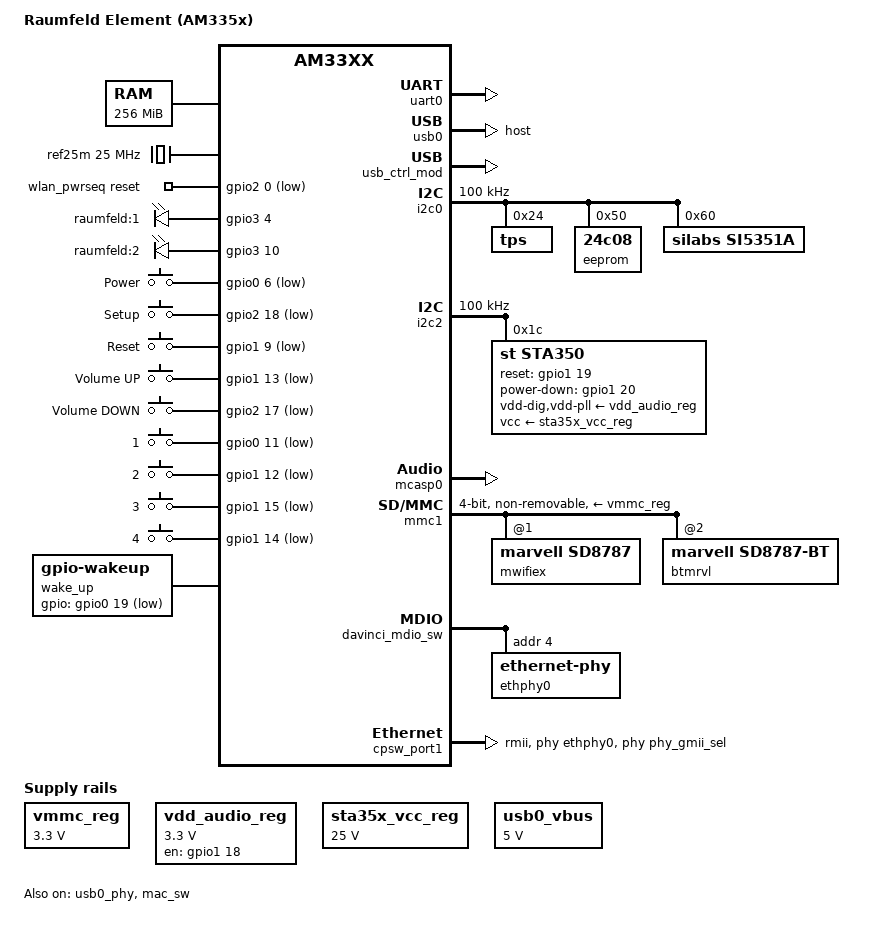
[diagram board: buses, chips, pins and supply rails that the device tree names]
// SPDX-License-Identifier: GPL-2.0-only
/dts-v1/;

#include "ti/omap/am33xx.dtsi"

#include <dt-bindings/gpio/gpio.h>
#include <dt-bindings/input/input.h>
#include <dt-bindings/interrupt-controller/irq.h>
#include <dt-bindings/pinctrl/am33xx.h>

/ {
	model = "Raumfeld Element (AM335x)";
	compatible = "ti,am335x-raumfeld-element", "ti,am33xx";

	pinctrl-names = "default";
	/*
	 * Keep only the global pinmux groups that don't conflict with
	 * peripheral pinctrl states.
	 *
	 * The old running system exposed an (empty) eth_wake_s0 group in pinctrl
	 * debug output. Do not mux XDMA_EVENT_INTR0 here, as that pad overlaps with
	 * RMII1_REF_CLK used by CPSW.
	 */
	pinctrl-0 = <&clkout2_pin &gpio_phy_reset_pins &pmic_irq_pins>;

        aliases {
            serial0 = &uart0;
        };

	chosen {
		stdout-path = &uart0;
	};

	memory@80000000 {
		device_type = "memory";
		reg = <0x80000000 0x10000000>; /* 256MB */
	};

	ref25m: ref25m-clock {
		compatible = "fixed-clock";
		#clock-cells = <0>;
		clock-frequency = <25000000>;
	};

	mcasp0_sysclk: mcasp0-sysclk {
		compatible = "fixed-clock";
		#clock-cells = <0>;
		/* 24.576MHz = 512 * 48kHz */
		clock-frequency = <24576000>;
	};

	wlan_pwrseq: wlan-pwrseq {
		compatible = "mmc-pwrseq-simple";
		reset-gpios = <&gpio2 0 GPIO_ACTIVE_LOW>;
		clocks = <&si5351a 1>;
		clock-names = "ext_clock";
		post-power-on-delay-ms = <200>;
	};

	vmmc_reg: regulator-vmmc {
		compatible = "regulator-fixed";
		regulator-name = "vmmc";
		regulator-min-microvolt = <3300000>;
		regulator-max-microvolt = <3300000>;
		regulator-always-on;
	};

	vdd_audio_reg: regulator-vdd-audio {
		compatible = "regulator-fixed";
		pinctrl-names = "default";
		pinctrl-0 = <&vdd_audio_pins>;
		regulator-name = "vdd-audio";
		regulator-min-microvolt = <3300000>;
		regulator-max-microvolt = <3300000>;
		gpio = <&gpio1 18 GPIO_ACTIVE_HIGH>;
		enable-active-high;
		regulator-enable-ramp-delay = <1000>;
	};

	sta35x_vcc_reg: regulator-sta35x-vcc {
		compatible = "regulator-fixed";
		regulator-name = "sta35x-vcc";
		regulator-min-microvolt = <25000000>;
		regulator-max-microvolt = <25000000>;
		regulator-always-on;
	};

	usb0_vbus: regulator-usb0-vbus {
		compatible = "regulator-fixed";
		regulator-name = "usb0-vbus";
		regulator-min-microvolt = <5000000>;
		regulator-max-microvolt = <5000000>;
		regulator-always-on;
	};

	leds {
		compatible = "gpio-leds";
		pinctrl-names = "default";
		pinctrl-0 = <&led_pins>;

		led1 {
			label = "raumfeld:1";
			gpios = <&gpio3 4 GPIO_ACTIVE_HIGH>;
			default-state = "off";
		};

		led2 {
			label = "raumfeld:2";
			gpios = <&gpio3 10 GPIO_ACTIVE_HIGH>;
			default-state = "on";
		};
	};

	gpio_keys: gpio-keys {
		compatible = "gpio-keys";
		pinctrl-names = "default";
		pinctrl-0 = <&button_pins>;

		power {
			label = "Power";
			linux,code = <KEY_POWER>;
			gpios = <&gpio0 6 GPIO_ACTIVE_LOW>;
			wakeup-source;
		};

		setup {
			label = "Setup";
			linux,code = <KEY_SETUP>;
			gpios = <&gpio2 18 GPIO_ACTIVE_LOW>;
		};

		reset {
			label = "Reset";
			linux,code = <KEY_F3>;
			gpios = <&gpio1 9 GPIO_ACTIVE_LOW>;
		};

		vol-up {
			label = "Volume UP";
			linux,code = <KEY_VOLUMEUP>;
			gpios = <&gpio1 13 GPIO_ACTIVE_LOW>;
		};

		vol-down {
			label = "Volume DOWN";
			linux,code = <KEY_VOLUMEDOWN>;
			gpios = <&gpio2 17 GPIO_ACTIVE_LOW>;
		};

		one {
			label = "1";
			linux,code = <KEY_1>;
			gpios = <&gpio0 11 GPIO_ACTIVE_LOW>;
		};

		two {
			label = "2";
			linux,code = <KEY_2>;
			gpios = <&gpio1 12 GPIO_ACTIVE_LOW>;
		};

		three {
			label = "3";
			linux,code = <KEY_3>;
			gpios = <&gpio1 15 GPIO_ACTIVE_LOW>;
		};

		four {
			label = "4";
			linux,code = <KEY_4>;
			gpios = <&gpio1 14 GPIO_ACTIVE_LOW>;
		};
	};

	wake_up {
		compatible = "gpio-wakeup";
		gpios = <&gpio0 19 GPIO_ACTIVE_LOW>;
	};

	sound {
		compatible = "simple-audio-card";
		simple-audio-card,name = "Element";
		simple-audio-card,format = "right_j";
		simple-audio-card,bitclock-master = <&sound_cpu>;
		simple-audio-card,frame-master = <&sound_cpu>;
		simple-audio-card,frame-inversion;

		sound_cpu: simple-audio-card,cpu {
			sound-dai = <&mcasp0>;
			clocks = <&mcasp0_sysclk>;
			/*
			 * McASP is BCLK/LRCLK master on this board. Make the driver use
			 * its internal functional clock (AUXCLK) as the reference.
			 *
			 * Do NOT use simple-audio-card,mclk-fs here: that would force the
			 * McASP sysclk to the codec MCLK (12.288MHz) which can be different
			 * from McASP's actual functional clock and can yield ~2x playback.
			 */
			system-clock-direction-out;
		};

		simple-audio-card,codec {
			sound-dai = <&sta350>;
			clocks = <&si5351a 0>;
		};
	};
};


&am33xx_pinmux {

	clkout2_pin: clkout2-pins {
		pinctrl-single,pins = <
			AM33XX_PADCONF(AM335X_PIN_XDMA_EVENT_INTR1, 0x00, MUX_MODE3) /* clkout2 */
		>;
	};

	eth_wake_s0: eth-wake-s0-pins {
		/* Intentionally left without pins to match old system behavior. */
	};

	gpio_phy_reset_pins: gpio-phy-reset-pins {
		pinctrl-single,pins = <
			AM33XX_PADCONF(AM335X_PIN_EMU0, 0x10, MUX_MODE7)
		>;
	};

	/* TPS65217 IRQ is open-drain; ensure NNMI has a pull-up enabled. */
	pmic_irq_pins: pmic-irq-pins {
		pinctrl-single,pins = <
			AM33XX_PADCONF(AM335X_PIN_NNMI, PIN_INPUT_PULLUP, MUX_MODE0)
		>;
	};

	uart0_pins: uart0-pins {
		pinctrl-single,pins = <
			AM33XX_PADCONF(AM335X_PIN_UART0_RXD, 0x38, MUX_MODE0)
			AM33XX_PADCONF(AM335X_PIN_UART0_TXD, 0x00, MUX_MODE0)
		>;
	};

	i2c0_pins: i2c0-pins {
		pinctrl-single,pins = <
			AM33XX_PADCONF(AM335X_PIN_I2C0_SDA, 0x60, MUX_MODE0)
			AM33XX_PADCONF(AM335X_PIN_I2C0_SCL, 0x60, MUX_MODE0)
		>;
	};

	i2c2_pins_default: i2c2-default-pins {
		pinctrl-single,pins = <
			AM33XX_PADCONF(AM335X_PIN_UART1_CTSN, 0x20, MUX_MODE3)
			AM33XX_PADCONF(AM335X_PIN_UART1_RTSN, 0x20, MUX_MODE3)
		>;
	};

	i2c2_pins_sleep: i2c2-sleep-pins {
		pinctrl-single,pins = <
			AM33XX_PADCONF(AM335X_PIN_UART1_CTSN, 0x00, MUX_MODE7)
			AM33XX_PADCONF(AM335X_PIN_UART1_RTSN, 0x00, MUX_MODE7)
		>;
	};

	cpsw_default: cpsw-default-pins {
		pinctrl-single,pins = <
			AM33XX_PADCONF(AM335X_PIN_MII1_CRS, 0x20, MUX_MODE1)
			AM33XX_PADCONF(AM335X_PIN_MII1_RX_ER, 0x20, MUX_MODE1)
			AM33XX_PADCONF(AM335X_PIN_MII1_TX_EN, 0x00, MUX_MODE1)
			AM33XX_PADCONF(AM335X_PIN_MII1_TXD1, 0x00, MUX_MODE1)
			AM33XX_PADCONF(AM335X_PIN_MII1_TXD0, 0x00, MUX_MODE1)
			AM33XX_PADCONF(AM335X_PIN_MII1_RXD1, 0x20, MUX_MODE1)
			AM33XX_PADCONF(AM335X_PIN_MII1_RXD0, 0x20, MUX_MODE1)
			AM33XX_PADCONF(AM335X_PIN_RMII1_REF_CLK, 0x20, MUX_MODE0)
		>;
	};

	cpsw_sleep: cpsw-sleep-pins {
		pinctrl-single,pins = <
			AM33XX_PADCONF(AM335X_PIN_MII1_CRS, 0x20, MUX_MODE7)
			AM33XX_PADCONF(AM335X_PIN_MII1_RX_ER, 0x20, MUX_MODE7)
			AM33XX_PADCONF(AM335X_PIN_MII1_TX_EN, 0x20, MUX_MODE7)
			AM33XX_PADCONF(AM335X_PIN_MII1_TXD1, 0x20, MUX_MODE7)
			AM33XX_PADCONF(AM335X_PIN_MII1_TXD0, 0x20, MUX_MODE7)
			AM33XX_PADCONF(AM335X_PIN_MII1_RXD1, 0x20, MUX_MODE7)
			AM33XX_PADCONF(AM335X_PIN_MII1_RXD0, 0x20, MUX_MODE7)
			AM33XX_PADCONF(AM335X_PIN_RMII1_REF_CLK, 0x20, MUX_MODE7)
		>;
	};

	davinci_mdio_default: davinci-mdio-default-pins {
		pinctrl-single,pins = <
			AM33XX_PADCONF(AM335X_PIN_MDIO, 0x70, MUX_MODE0)
			AM33XX_PADCONF(AM335X_PIN_MDC, 0x10, MUX_MODE0)
		>;
	};

	davinci_mdio_sleep: davinci-mdio-sleep-pins {
		pinctrl-single,pins = <
			AM33XX_PADCONF(AM335X_PIN_MDIO, 0x20, MUX_MODE7)
			AM33XX_PADCONF(AM335X_PIN_MDC, 0x20, MUX_MODE7)
		>;
	};

	mmc1_pins: mmc1-pins {
		pinctrl-single,pins = <
			AM33XX_PADCONF(AM335X_PIN_MMC0_DAT0, 0x38, MUX_MODE0)
			AM33XX_PADCONF(AM335X_PIN_MMC0_DAT1, 0x38, MUX_MODE0)
			AM33XX_PADCONF(AM335X_PIN_MMC0_DAT2, 0x38, MUX_MODE0)
			AM33XX_PADCONF(AM335X_PIN_MMC0_DAT3, 0x38, MUX_MODE0)
			AM33XX_PADCONF(AM335X_PIN_MMC0_CMD, 0x38, MUX_MODE0)
			AM33XX_PADCONF(AM335X_PIN_MMC0_CLK, 0x38, MUX_MODE0)
			AM33XX_PADCONF(AM335X_PIN_GPMC_CSN3, 0x07, MUX_MODE7)
		>;
	};

	/*
	 * Match the old kernel pinctrl states for MMC (default/idle/sleep).
	 * The old debug output showed an "idle" state mapping a single cirq pin.
	 */
	mmc1_cirq_pin: mmc1-cirq-pin {
		pinctrl-single,pins = <
			AM33XX_PADCONF(AM335X_PIN_MMC0_DAT1, 0x38, MUX_MODE0)
		>;
	};

	mmc1_sleep_pins: mmc1-sleep-pins {
		pinctrl-single,pins = <
			AM33XX_PADCONF(AM335X_PIN_MMC0_DAT0, 0x38, MUX_MODE7)
			AM33XX_PADCONF(AM335X_PIN_MMC0_DAT1, 0x38, MUX_MODE7)
			AM33XX_PADCONF(AM335X_PIN_MMC0_DAT2, 0x38, MUX_MODE7)
			AM33XX_PADCONF(AM335X_PIN_MMC0_DAT3, 0x38, MUX_MODE7)
			AM33XX_PADCONF(AM335X_PIN_MMC0_CMD, 0x38, MUX_MODE7)
			AM33XX_PADCONF(AM335X_PIN_MMC0_CLK, 0x38, MUX_MODE7)
			AM33XX_PADCONF(AM335X_PIN_GPMC_CSN3, 0x10, MUX_MODE7)
		>;
	};

	button_pins: button-pins {
		pinctrl-single,pins = <
			AM33XX_PADCONF(AM335X_PIN_SPI0_CS1, 0x30, MUX_MODE7)
			AM33XX_PADCONF(AM335X_PIN_MII1_RXD3, 0x30, MUX_MODE7)
			AM33XX_PADCONF(AM335X_PIN_UART0_RTSN, 0x30, MUX_MODE7)
			AM33XX_PADCONF(AM335X_PIN_GPMC_AD13, 0x30, MUX_MODE7)
			AM33XX_PADCONF(AM335X_PIN_LCD_DATA11, 0x30, MUX_MODE7)
			AM33XX_PADCONF(AM335X_PIN_LCD_DATA15, 0x30, MUX_MODE7)
			AM33XX_PADCONF(AM335X_PIN_GPMC_AD12, 0x30, MUX_MODE7)
			AM33XX_PADCONF(AM335X_PIN_GPMC_AD15, 0x30, MUX_MODE7)
			AM33XX_PADCONF(AM335X_PIN_GPMC_AD14, 0x30, MUX_MODE7)
		>;
	};

	led_pins: led-pins {
		pinctrl-single,pins = <
			AM33XX_PADCONF(AM335X_PIN_MII1_RX_DV, 0x00, MUX_MODE7)
			AM33XX_PADCONF(AM335X_PIN_MII1_RX_CLK, 0x00, MUX_MODE7)
		>;
	};

	vdd_audio_pins: vdd-audio-pins {
		pinctrl-single,pins = <
			AM33XX_PADCONF(AM335X_PIN_GPMC_A2, 0x00, MUX_MODE7)
		>;
	};

	audio_pins_default: audio-default-pins {
		pinctrl-single,pins = <
			AM33XX_PADCONF(AM335X_PIN_MCASP0_AHCLKX, 0x28, MUX_MODE0)
			AM33XX_PADCONF(AM335X_PIN_MCASP0_ACLKX, 0x08, MUX_MODE0)
			AM33XX_PADCONF(AM335X_PIN_MCASP0_FSX, 0x08, MUX_MODE0)
			AM33XX_PADCONF(AM335X_PIN_MCASP0_AXR0, 0x08, MUX_MODE0)
			AM33XX_PADCONF(AM335X_PIN_MCASP0_AXR1, 0x28, MUX_MODE0)
			AM33XX_PADCONF(AM335X_PIN_MCASP0_FSR, 0x20, MUX_MODE7)
			AM33XX_PADCONF(AM335X_PIN_MCASP0_AHCLKR, 0x28, MUX_MODE0)
			AM33XX_PADCONF(AM335X_PIN_MCASP0_ACLKR, 0x20, MUX_MODE7)
			AM33XX_PADCONF(0x0878, 0x27, MUX_MODE7)
		>;
	};

	audio_pins_sleep: audio-sleep-pins {
		pinctrl-single,pins = <
			AM33XX_PADCONF(AM335X_PIN_MCASP0_AHCLKX, 0x20, MUX_MODE7)
			AM33XX_PADCONF(AM335X_PIN_MCASP0_ACLKX, 0x20, MUX_MODE7)
			AM33XX_PADCONF(AM335X_PIN_MCASP0_FSX, 0x20, MUX_MODE7)
			AM33XX_PADCONF(AM335X_PIN_MCASP0_AXR0, 0x20, MUX_MODE7)
			AM33XX_PADCONF(AM335X_PIN_MCASP0_AXR1, 0x20, MUX_MODE7)
			AM33XX_PADCONF(AM335X_PIN_MCASP0_FSR, 0x20, MUX_MODE7)
			AM33XX_PADCONF(AM335X_PIN_MCASP0_AHCLKR, 0x20, MUX_MODE7)
			AM33XX_PADCONF(AM335X_PIN_MCASP0_ACLKR, 0x20, MUX_MODE7)
		>;
	};

	sta350_pins_default: sta350-default-pins {
		pinctrl-single,pins = <
			AM33XX_PADCONF(AM335X_PIN_GPMC_A3, 0x00, MUX_MODE7)
			AM33XX_PADCONF(AM335X_PIN_GPMC_A4, 0x00, MUX_MODE7)
		>;
	};

	sta350_pins_sleep: sta350-sleep-pins {
		pinctrl-single,pins = <
			AM33XX_PADCONF(AM335X_PIN_GPMC_A3, 0x20, MUX_MODE7)
			AM33XX_PADCONF(AM335X_PIN_GPMC_A4, 0x20, MUX_MODE7)
		>;
	};
};

&uart0 {
	pinctrl-names = "default";
	pinctrl-0 = <&uart0_pins>;
	status = "okay";
};

&usb0 {
	dr_mode = "host";
	status = "okay";
};

&usb0_phy {
	vbus-supply = <&usb0_vbus>;
	status = "okay";
};

&usb1 {
	status = "disabled";
};

&usb1_phy {
	status = "disabled";
};

&usb_ctrl_mod {
	status = "okay";
};

/*
 * Fix kernel timekeeping: ensure sys_clkin_ck selects the board's 25MHz
 * oscillator early (during clk init), before the dmtimer clockevent captures
 * its rate.
 */
&sys_clkin_ck {
	assigned-clocks = <&sys_clkin_ck>;
	assigned-clock-parents = <&virt_25000000_ck>;
};

&i2c0 {
	pinctrl-names = "default";
	pinctrl-0 = <&i2c0_pins>;
	status = "okay";
	clock-frequency = <100000>;

	tps: tps@24 {
		reg = <0x24>;
	};

	eeprom@50 {
		compatible = "24c08";
		reg = <0x50>;
		pagesize = <16>;
	};

	si5351a: clock-generator@60 {
		compatible = "silabs,si5351a";
		reg = <0x60>;
		#address-cells = <1>;
		#size-cells = <0>;
		#clock-cells = <1>;
		clocks = <&ref25m>;
		clock-names = "xtal";

		clkout0 {
			reg = <0>;
			/* 12.288 MHz */
			clock-frequency = <12288000>;
		};
		wifi_32k: clkout1 {
			reg = <1>;
			clock-frequency = <32768>;
		};
		clkout2 {
			reg = <2>;
		};
	};
};

&i2c2 {
	pinctrl-names = "default", "sleep";
	pinctrl-0 = <&i2c2_pins_default>;
	pinctrl-1 = <&i2c2_pins_sleep>;
	status = "okay";
	clock-frequency = <100000>;

	sta350: codec@1c {
		compatible = "st,sta350";
		reg = <0x1c>;
		#sound-dai-cells = <0>;
		clocks = <&si5351a 0>;
		clock-names = "mclk";
		pinctrl-names = "default", "sleep";
		pinctrl-0 = <&sta350_pins_default>;
		pinctrl-1 = <&sta350_pins_sleep>;
		reset-gpios = <&gpio1 19 GPIO_ACTIVE_HIGH>;
		power-down-gpios = <&gpio1 20 GPIO_ACTIVE_HIGH>;
		st,output-conf = /bits/ 8 <0x00>;
		st,ch1-output-mapping = /bits/ 8 <0x00>;
		st,ch2-output-mapping = /bits/ 8 <0x01>;
		st,ffx-power-output-mode = "variable-drop-compensation";
		st,fault-detect-recovery;
		st,overcurrent-warning-adjustment;
		st,thermal-warning-recover;
		st,thermal-warning-adjustment;
		vdd-dig-supply = <&vdd_audio_reg>;
		vdd-pll-supply = <&vdd_audio_reg>;
		vcc-supply = <&sta35x_vcc_reg>;
	};
};

#include "tps65217.dtsi"

&tps {
	/*
	 * Mitigation for IRQ storm on newer kernels:
	 * TPS65217 IRQ output is wired in a way that ends up stuck asserted on this
	 * board/kernel combination, causing "irq XX: nobody cared" and the kernel
	 * disabling the interrupt.
	 *
	 * Keep the PMIC for regulators, but do not wire up the parent interrupt.
	 */

	/* Match upstream AM335x TPS65217 usage (e.g. BeagleBone). */
	ti,pmic-shutdown-controller;

	charger {
		status = "disabled";
	};

	pwrbutton {
		status = "disabled";
	};
};

&dcdc1_reg {
	regulator-name = "vdd_mem";
	regulator-always-on;
};

&dcdc2_reg {
	regulator-name = "vdd_mpu";
	regulator-always-on;
};

&dcdc3_reg {
	regulator-name = "vdd_core";
	regulator-always-on;
};

&ldo1_reg {
	regulator-always-on;
};

&ldo2_reg {
	regulator-always-on;
};

&ldo3_reg {
	regulator-always-on;
};

&ldo4_reg {
	regulator-always-on;
};

&mcasp0 {
	status = "okay";
	#sound-dai-cells = <0>;
	pinctrl-names = "default", "sleep";
	pinctrl-0 = <&audio_pins_default>;
	pinctrl-1 = <&audio_pins_sleep>;

	op-mode = <0>; /* DAVINCI_MCASP_IIS_MODE */
	tdm-slots = <2>;
	num-serializer = <16>;
	serial-dir = <1 2 0 0 0 0 0 0 0 0 0 0 0 0 0 0>;
	tx-num-evt = <1>;
	rx-num-evt = <1>;
};

&mmc1 {
	status = "okay";
	cap-sdio-irq;
	cap-power-off-card;
	pinctrl-names = "default", "idle", "sleep";
	pinctrl-0 = <&mmc1_pins>;
	pinctrl-1 = <&mmc1_cirq_pin>;
	pinctrl-2 = <&mmc1_sleep_pins>;
	bus-width = <4>;
	non-removable;
	keep-power-in-suspend;
	enable-sdio-wakeup;
	vmmc-supply = <&vmmc_reg>;
	mmc-pwrseq = <&wlan_pwrseq>;
	#address-cells = <1>;
	#size-cells = <0>;

	mwifiex: wifi@1 {
		compatible = "marvell,sd8787";
		reg = <1>;
	};

	btmrvl: bluetooth@2 {
		compatible = "marvell,sd8787-bt";
		reg = <2>;
	};
};

&elm {
	status = "disabled";
};

&gpmc {
	status = "disabled";
	ranges = <0 0 0x08000000 0x10000000>; /* CS0 */

	nand@0,0 {
		status = "disabled";
		compatible = "ti,omap2-nand";
		reg = <0 0 4>; /* CS0, offset 0, IO size 4 */
		interrupt-parent = <&gpmc>;
		interrupts = <0 IRQ_TYPE_NONE>,
			     <1 IRQ_TYPE_NONE>;
		rb-gpios = <&gpmc 0 GPIO_ACTIVE_HIGH>; /* gpmc_wait0 */
		ti,nand-xfer-type = "prefetch-dma";
		ti,nand-ecc-opt = "bch8";
		ti,elm-id = <&elm>;
		nand-bus-width = <8>;
		gpmc,device-width = <1>;
		gpmc,sync-clk-ps = <0>;
		gpmc,cs-on-ns = <0>;
		gpmc,cs-rd-off-ns = <44>;
		gpmc,cs-wr-off-ns = <44>;
		gpmc,adv-on-ns = <6>;
		gpmc,adv-rd-off-ns = <34>;
		gpmc,adv-wr-off-ns = <44>;
		gpmc,we-on-ns = <6>;
		gpmc,we-off-ns = <40>;
		gpmc,oe-on-ns = <6>;
		gpmc,oe-off-ns = <54>;
		gpmc,page-burst-access-ns = <0>;
		gpmc,access-ns = <64>;
		gpmc,rd-cycle-ns = <82>;
		gpmc,wr-cycle-ns = <82>;
		gpmc,cycle2cycle-delay-ns = <0>;
		gpmc,bus-turnaround-ns = <0>;
		gpmc,wait-monitoring-ns = <0>;
		gpmc,clk-activation-ns = <0>;
		gpmc,wr-data-mux-bus-ns = <0>;
		gpmc,wait-on-read;
		gpmc,wait-on-write;

		#address-cells = <1>;
		#size-cells = <1>;

		partition@0 {
			label = "SPL";
			reg = <0x00000000 0x00020000>;
		};
		partition@1 {
			label = "SPL.backup1";
			reg = <0x00020000 0x00020000>;
		};
		partition@2 {
			label = "SPL.backup2";
			reg = <0x00040000 0x00020000>;
		};
		partition@3 {
			label = "Firmware Data";
			reg = <0x00060000 0x00020000>;
		};
		partition@4 {
			label = "U-Boot";
			reg = <0x00080000 0x00100000>;
		};
		partition@5 {
			label = "U-Boot Env";
			reg = <0x00180000 0x00020000>;
		};
		partition@6 {
			label = "Kernel";
			reg = <0x001a0000 0x00600000>;
		};
		partition@7 {
			label = "DTB";
			reg = <0x007a0000 0x00040000>;
		};
		partition@8 {
			label = "File System";
			reg = <0x007e0000 0x0f820000>;
		};
	};
};

&mac_sw {
	pinctrl-names = "default", "sleep";
	pinctrl-0 = <&cpsw_default>;
	pinctrl-1 = <&cpsw_sleep>;
	status = "okay";
};

&davinci_mdio_sw {
	pinctrl-names = "default", "sleep";
	pinctrl-0 = <&davinci_mdio_default>;
	pinctrl-1 = <&davinci_mdio_sleep>;
	status = "okay";

	ethphy0: ethernet-phy@4 {
		reg = <4>;
		max-speed = <100>;
		/* reset-gpios = <&gpio3 7 GPIO_ACTIVE_HIGH>; */
		/* reset-assert-us = <300>; */
		/* reset-deassert-us = <20000>; */
	};
};

&cpsw_port1 {
	phy-handle = <&ethphy0>;
	phy-mode = "rmii";
	phys = <&phy_gmii_sel 1 1>; /* RMII, external refclk */
	ti,dual-emac-pvid = <1>;
};

&cpsw_port2 {
	status = "disabled";
};
